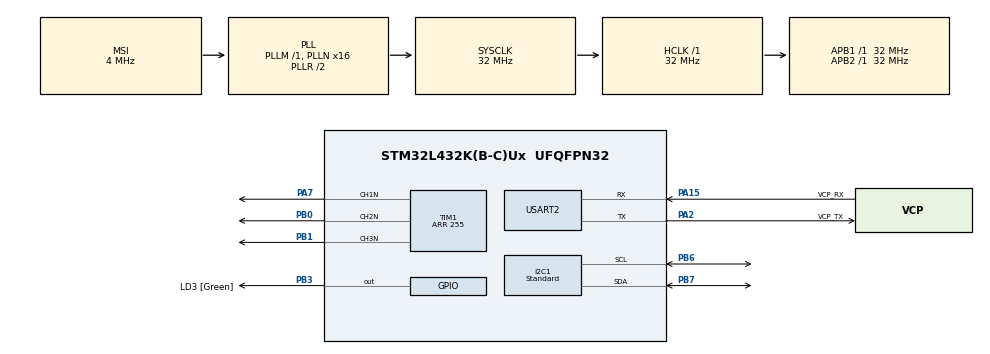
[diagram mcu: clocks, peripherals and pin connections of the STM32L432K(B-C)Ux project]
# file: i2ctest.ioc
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I2C1.GeneralCallMode=I2C_GENERALCALL_ENABLE
I2C1.I2C_Speed_Mode=I2C_Standard
I2C1.NoStretchMode=I2C_NOSTRETCH_ENABLE
I2C1.OwnAddress=0x69
I2C1.Timing=0x00B07CB4
Mcu.Family=STM32L4
Mcu.Name=STM32L432K(B-C)Ux
Mcu.Package=UFQFPN32
NVIC.I2C1_ER_IRQn=true\:0\:0\:false\:false\:true\:true\:true\:true
NVIC.I2C1_EV_IRQn=true\:0\:0\:false\:false\:true\:true\:true\:true
NVIC.PriorityGroup=NVIC_PRIORITYGROUP_4
PA0.GPIO_Label=MCO [High speed clock in]
PA0.Mode=HSE-External-Clock-Source-for-LittleOrca
PA0.Signal=RCC_CK_IN
PA13\ (JTMS-SWDIO).GPIO_Label=SWDIO
PA13\ (JTMS-SWDIO).Mode=Serial_Wire
PA13\ (JTMS-SWDIO).Signal=SYS_JTMS-SWDIO
PA14\ (JTCK-SWCLK).GPIO_Label=SWCLK
PA14\ (JTCK-SWCLK).Mode=Serial_Wire
PA14\ (JTCK-SWCLK).Signal=SYS_JTCK-SWCLK
PA15\ (JTDI).GPIO_Label=VCP_RX
PA15\ (JTDI).Mode=Asynchronous
PA15\ (JTDI).Signal=USART2_RX
PA2.GPIO_Label=VCP_TX
PA2.Mode=Asynchronous
PA2.Signal=USART2_TX
PA7.Mode=PWM Generation1 CH1N
PA7.Signal=TIM1_CH1N
PB0.Mode=PWM Generation2 CH2N
PB0.Signal=TIM1_CH2N
PB1.Mode=PWM Generation3 CH3N
PB1.Signal=TIM1_CH3N
PB3\ (JTDO-TRACESWO).GPIO_Label=LD3 [Green]
PB3\ (JTDO-TRACESWO).Signal=GPIO_Output
PB6.Mode=I2C
PB6.Signal=I2C1_SCL
PB7.Mode=I2C
PB7.Signal=I2C1_SDA
PC14-OSC32_IN\ (PC14).Mode=LSE-External-Oscillator
PC14-OSC32_IN\ (PC14).Signal=RCC_OSC32_IN
PC15-OSC32_OUT\ (PC15).Mode=LSE-External-Oscillator
PC15-OSC32_OUT\ (PC15).Signal=RCC_OSC32_OUT
ProjectManager.HeapSize=0x200
ProjectManager.StackSize=0x400
ProjectManager.TargetToolchain=STM32CubeIDE
RCC.AHBFreq_Value=32000000
RCC.APB1Freq_Value=32000000
RCC.APB1TimFreq_Value=32000000
RCC.APB2Freq_Value=32000000
RCC.APB2TimFreq_Value=32000000
RCC.CortexFreq_Value=32000000
RCC.HCLKFreq_Value=32000000
RCC.HSE_VALUE=8000000
RCC.HSI16_VALUE=16000000
RCC.HSI48_VALUE=48000000
RCC.HSI_VALUE=16000000
RCC.MSI_VALUE=4000000
RCC.PLLMUL=RCC_PLLMUL_4
RCC.PLLN=16
RCC.SYSCLKFreq_VALUE=32000000
RCC.SYSCLKSource=RCC_SYSCLKSOURCE_PLLCLK
RCC.VCOOutputFreq_Value=64000000
TIM1.AutoReloadPreload=TIM_AUTORELOAD_PRELOAD_ENABLE
TIM1.Channel-PWM\ Generation1\ CH1N=TIM_CHANNEL_1
TIM1.Channel-PWM\ Generation2\ CH2N=TIM_CHANNEL_2
TIM1.Channel-PWM\ Generation3\ CH3N=TIM_CHANNEL_3
TIM1.Period=255
USART2.VirtualMode-Asynchronous=VM_ASYNC
board=NUCLEO-L432KC

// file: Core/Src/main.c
/* USER CODE BEGIN Header */
/**
 ******************************************************************************
 * @file           : main.c
 * @brief          : Main program body
 ******************************************************************************
 * @attention
 *
 * Copyright (c) 2025 STMicroelectronics.
 * All rights reserved.
 *
 * This software is licensed under terms that can be found in the LICENSE file
 * in the root directory of this software component.
 * If no LICENSE file comes with this software, it is provided AS-IS.
 *
 ******************************************************************************
 */
/* USER CODE END Header */
#include "main.h"

/* USER CODE BEGIN PD */
#define RED_MOD 1
#define GREEN_MOD 0.33
#define BLUE_MOD 0.8
/* USER CODE END PD */

I2C_HandleTypeDef hi2c1;

TIM_HandleTypeDef htim1;

UART_HandleTypeDef huart2;

/* USER CODE BEGIN PV */
uint8_t i2c_rx_buffer[1];
uint8_t buffer[1] = {0};
/* USER CODE END PV */

void SystemClock_Config(void);
static void MX_GPIO_Init(void);
static void MX_USART2_UART_Init(void);
static void MX_I2C1_Init(void);
static void MX_TIM1_Init(void);

/* USER CODE BEGIN 0 */
void process_command(uint8_t rx_buffer[1]) {
	__HAL_TIM_SET_COMPARE(&htim1, TIM_CHANNEL_1, rx_buffer[0]);
}
/* USER CODE END 0 */

int main(void) {

	/* MCU Configuration--------------------------------------------------------*/

	/* Reset of all peripherals, Initializes the Flash interface and the Systick. */
	HAL_Init();

	/* Configure the system clock */
	SystemClock_Config();

	/* Initialize all configured peripherals */
	MX_GPIO_Init();
	MX_USART2_UART_Init();
	MX_I2C1_Init();
	MX_TIM1_Init();
	/* USER CODE BEGIN 2 */
	HAL_TIMEx_PWMN_Start(&htim1, TIM_CHANNEL_1);
	HAL_TIMEx_PWMN_Start(&htim1, TIM_CHANNEL_2);
	HAL_TIMEx_PWMN_Start(&htim1, TIM_CHANNEL_3);
	HAL_I2C_EnableListen_IT(&hi2c1);
	/* USER CODE END 2 */

	/* Infinite loop */
	while (1) {

	}
}

void SystemClock_Config(void) {
	RCC_OscInitTypeDef RCC_OscInitStruct = { 0 };
	RCC_ClkInitTypeDef RCC_ClkInitStruct = { 0 };

	/** Configure the main internal regulator output voltage
	 */
	if (HAL_PWREx_ControlVoltageScaling(PWR_REGULATOR_VOLTAGE_SCALE1)
			!= HAL_OK) {
		Error_Handler();
	}

	/** Configure LSE Drive Capability
	 */
	HAL_PWR_EnableBkUpAccess();
	__HAL_RCC_LSEDRIVE_CONFIG(RCC_LSEDRIVE_LOW);

	/** Initializes the RCC Oscillators according to the specified parameters
	 * in the RCC_OscInitTypeDef structure.
	 */
	RCC_OscInitStruct.OscillatorType = RCC_OSCILLATORTYPE_LSE
			| RCC_OSCILLATORTYPE_MSI;
	RCC_OscInitStruct.LSEState = RCC_LSE_ON;
	RCC_OscInitStruct.MSIState = RCC_MSI_ON;
	RCC_OscInitStruct.MSICalibrationValue = 0;
	RCC_OscInitStruct.MSIClockRange = RCC_MSIRANGE_6;
	RCC_OscInitStruct.PLL.PLLState = RCC_PLL_ON;
	RCC_OscInitStruct.PLL.PLLSource = RCC_PLLSOURCE_MSI;
	RCC_OscInitStruct.PLL.PLLM = 1;
	RCC_OscInitStruct.PLL.PLLN = 16;
	RCC_OscInitStruct.PLL.PLLP = RCC_PLLP_DIV7;
	RCC_OscInitStruct.PLL.PLLQ = RCC_PLLQ_DIV2;
	RCC_OscInitStruct.PLL.PLLR = RCC_PLLR_DIV2;
	if (HAL_RCC_OscConfig(&RCC_OscInitStruct) != HAL_OK) {
		Error_Handler();
	}

	/** Initializes the CPU, AHB and APB buses clocks
	 */
	RCC_ClkInitStruct.ClockType = RCC_CLOCKTYPE_HCLK | RCC_CLOCKTYPE_SYSCLK
			| RCC_CLOCKTYPE_PCLK1 | RCC_CLOCKTYPE_PCLK2;
	RCC_ClkInitStruct.SYSCLKSource = RCC_SYSCLKSOURCE_PLLCLK;
	RCC_ClkInitStruct.AHBCLKDivider = RCC_SYSCLK_DIV1;
	RCC_ClkInitStruct.APB1CLKDivider = RCC_HCLK_DIV1;
	RCC_ClkInitStruct.APB2CLKDivider = RCC_HCLK_DIV1;

	if (HAL_RCC_ClockConfig(&RCC_ClkInitStruct, FLASH_LATENCY_1) != HAL_OK) {
		Error_Handler();
	}

	/** Enable MSI Auto calibration
	 */
	HAL_RCCEx_EnableMSIPLLMode();
}

static void MX_I2C1_Init(void) {

	hi2c1.Instance = I2C1;
	hi2c1.Init.Timing = 0x00B07CB4;
	hi2c1.Init.OwnAddress1 = 210;
	hi2c1.Init.AddressingMode = I2C_ADDRESSINGMODE_7BIT;
	hi2c1.Init.DualAddressMode = I2C_DUALADDRESS_DISABLE;
	hi2c1.Init.OwnAddress2 = 0;
	hi2c1.Init.OwnAddress2Masks = I2C_OA2_NOMASK;
	hi2c1.Init.GeneralCallMode = I2C_GENERALCALL_ENABLE;
	hi2c1.Init.NoStretchMode = I2C_NOSTRETCH_ENABLE;
	if (HAL_I2C_Init(&hi2c1) != HAL_OK) {
		Error_Handler();
	}

	/** Configure Analogue filter
	 */
	if (HAL_I2CEx_ConfigAnalogFilter(&hi2c1, I2C_ANALOGFILTER_ENABLE)
			!= HAL_OK) {
		Error_Handler();
	}

	/** Configure Digital filter
	 */
	if (HAL_I2CEx_ConfigDigitalFilter(&hi2c1, 0) != HAL_OK) {
		Error_Handler();
	}

}

static void MX_TIM1_Init(void) {

	TIM_MasterConfigTypeDef sMasterConfig = { 0 };
	TIM_OC_InitTypeDef sConfigOC = { 0 };
	TIM_BreakDeadTimeConfigTypeDef sBreakDeadTimeConfig = { 0 };

	htim1.Instance = TIM1;
	htim1.Init.Prescaler = 0;
	htim1.Init.CounterMode = TIM_COUNTERMODE_UP;
	htim1.Init.Period = 255;
	htim1.Init.ClockDivision = TIM_CLOCKDIVISION_DIV1;
	htim1.Init.RepetitionCounter = 0;
	htim1.Init.AutoReloadPreload = TIM_AUTORELOAD_PRELOAD_ENABLE;
	if (HAL_TIM_PWM_Init(&htim1) != HAL_OK) {
		Error_Handler();
	}
	sMasterConfig.MasterOutputTrigger = TIM_TRGO_RESET;
	sMasterConfig.MasterOutputTrigger2 = TIM_TRGO2_RESET;
	sMasterConfig.MasterSlaveMode = TIM_MASTERSLAVEMODE_DISABLE;
	if (HAL_TIMEx_MasterConfigSynchronization(&htim1, &sMasterConfig)
			!= HAL_OK) {
		Error_Handler();
	}
	sConfigOC.OCMode = TIM_OCMODE_PWM1;
	sConfigOC.Pulse = 0;
	sConfigOC.OCPolarity = TIM_OCPOLARITY_HIGH;
	sConfigOC.OCNPolarity = TIM_OCNPOLARITY_HIGH;
	sConfigOC.OCFastMode = TIM_OCFAST_DISABLE;
	sConfigOC.OCIdleState = TIM_OCIDLESTATE_RESET;
	sConfigOC.OCNIdleState = TIM_OCNIDLESTATE_RESET;
	if (HAL_TIM_PWM_ConfigChannel(&htim1, &sConfigOC, TIM_CHANNEL_1)
			!= HAL_OK) {
		Error_Handler();
	}
	if (HAL_TIM_PWM_ConfigChannel(&htim1, &sConfigOC, TIM_CHANNEL_2)
			!= HAL_OK) {
		Error_Handler();
	}
	if (HAL_TIM_PWM_ConfigChannel(&htim1, &sConfigOC, TIM_CHANNEL_3)
			!= HAL_OK) {
		Error_Handler();
	}
	sBreakDeadTimeConfig.OffStateRunMode = TIM_OSSR_DISABLE;
	sBreakDeadTimeConfig.OffStateIDLEMode = TIM_OSSI_DISABLE;
	sBreakDeadTimeConfig.LockLevel = TIM_LOCKLEVEL_OFF;
	sBreakDeadTimeConfig.DeadTime = 0;
	sBreakDeadTimeConfig.BreakState = TIM_BREAK_DISABLE;
	sBreakDeadTimeConfig.BreakPolarity = TIM_BREAKPOLARITY_HIGH;
	sBreakDeadTimeConfig.BreakFilter = 0;
	sBreakDeadTimeConfig.Break2State = TIM_BREAK2_DISABLE;
	sBreakDeadTimeConfig.Break2Polarity = TIM_BREAK2POLARITY_HIGH;
	sBreakDeadTimeConfig.Break2Filter = 0;
	sBreakDeadTimeConfig.AutomaticOutput = TIM_AUTOMATICOUTPUT_DISABLE;
	if (HAL_TIMEx_ConfigBreakDeadTime(&htim1, &sBreakDeadTimeConfig)
			!= HAL_OK) {
		Error_Handler();
	}
	HAL_TIM_MspPostInit(&htim1);

}

static void MX_USART2_UART_Init(void) {

	huart2.Instance = USART2;
	huart2.Init.BaudRate = 115200;
	huart2.Init.WordLength = UART_WORDLENGTH_8B;
	huart2.Init.StopBits = UART_STOPBITS_1;
	huart2.Init.Parity = UART_PARITY_NONE;
	huart2.Init.Mode = UART_MODE_TX_RX;
	huart2.Init.HwFlowCtl = UART_HWCONTROL_NONE;
	huart2.Init.OverSampling = UART_OVERSAMPLING_16;
	huart2.Init.OneBitSampling = UART_ONE_BIT_SAMPLE_DISABLE;
	huart2.AdvancedInit.AdvFeatureInit = UART_ADVFEATURE_NO_INIT;
	if (HAL_UART_Init(&huart2) != HAL_OK) {
		Error_Handler();
	}

}

static void MX_GPIO_Init(void) {
	GPIO_InitTypeDef GPIO_InitStruct = { 0 };

	/* GPIO Ports Clock Enable */
	__HAL_RCC_GPIOC_CLK_ENABLE();
	__HAL_RCC_GPIOA_CLK_ENABLE();
	__HAL_RCC_GPIOB_CLK_ENABLE();

	/*Configure GPIO pin Output Level */
	HAL_GPIO_WritePin(LD3_GPIO_Port, LD3_Pin, GPIO_PIN_RESET);

	/*Configure GPIO pin : LD3_Pin */
	GPIO_InitStruct.Pin = LD3_Pin;
	GPIO_InitStruct.Mode = GPIO_MODE_OUTPUT_PP;
	GPIO_InitStruct.Pull = GPIO_NOPULL;
	GPIO_InitStruct.Speed = GPIO_SPEED_FREQ_LOW;
	HAL_GPIO_Init(LD3_GPIO_Port, &GPIO_InitStruct);

}

/* USER CODE BEGIN 4 */
// Called when master addresses the slave
void HAL_I2C_AddrCallback(I2C_HandleTypeDef *hi2c, uint8_t TransferDirection,
		uint16_t AddrMatchCode) {
	if (hi2c->Instance == hi2c1.Instance) {
		if (TransferDirection == I2C_DIRECTION_TRANSMIT) {
			// Master wants to write to slave
			HAL_I2C_Slave_Seq_Receive_IT(hi2c, i2c_rx_buffer, 1,
			I2C_NEXT_FRAME);
		} else {
			// Master wants to read from slave — not supported in this example
			uint8_t dummy_data = 0x00;
			HAL_I2C_Slave_Seq_Transmit_IT(hi2c, &dummy_data, 1, I2C_NEXT_FRAME);
		}
	}
}

// Called when slave has received data
void HAL_I2C_SlaveRxCpltCallback(I2C_HandleTypeDef *hi2c) {
	if (hi2c->Instance == hi2c1.Instance) {
		process_command(i2c_rx_buffer);
	}
}

// Called when master stops communication
void HAL_I2C_ListenCpltCallback(I2C_HandleTypeDef *hi2c) {
	if (hi2c->Instance == hi2c1.Instance) {
		// Restart listening
		HAL_I2C_EnableListen_IT(hi2c);
	}
}
/* USER CODE END 4 */

void Error_Handler(void) {
	__disable_irq();
	while (1) {
	}
}
